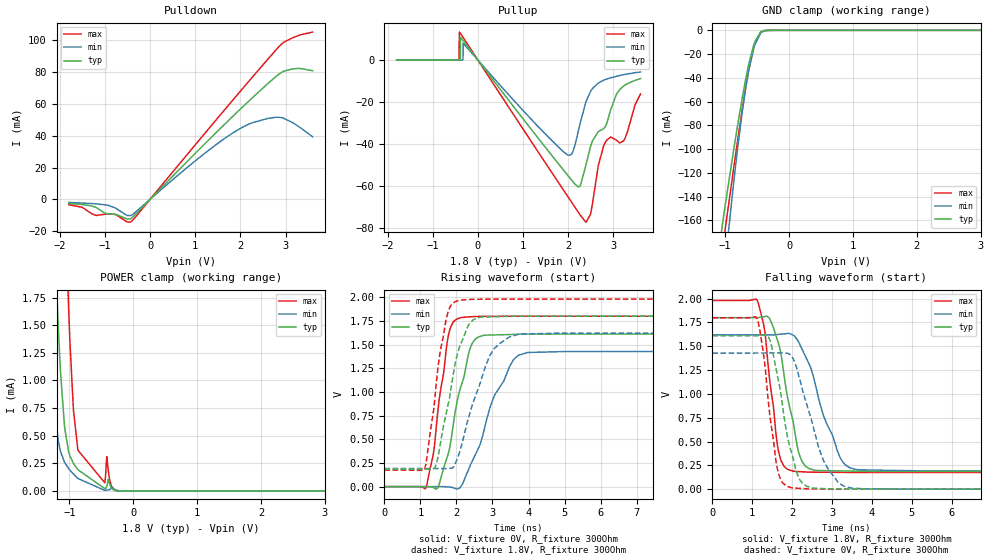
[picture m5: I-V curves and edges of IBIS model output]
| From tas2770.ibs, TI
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|   output Model
[Model]   output
Model_type   3-state
Polarity   Non-Inverting
Vmeas = 0.9
Vref = 0
Cref = 2pF
Rref = 100000
|   typ   min   max
C_comp   2.0028pF   2.0028pF   2.02143pF
|C_comp_pullup   1.65056pF   1.6279pF   1.71252pF
|C_comp_pulldown   1.63541pF   1.61297pF   1.70465pF
| Where nom  PVT is Nominal Process, 1.8V, 25C
|   Fast PVT is Strong Process,  1.98V, -40C
|   Slow PVT is Weak Process,   1.62V, 150C
[Voltage Range]   1.8   1.62   1.98
[Temperature Range]   25   150   -40
[Pullup Reference]   1.8   1.62   1.98
[Pulldown Reference]   -0   0   -0
[Power Clamp Reference]   1.8   1.62   1.98
[GND Clamp Reference]   0   0   0
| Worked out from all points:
|   slope of the pulldown table from 0 to 0.27 V, typ, clamps not added: 34.4 ohm
|   slope of the pullup table from 0 to 0.27 V, typ, clamps not added: 35.4 ohm
|   GND clamp passes 1 mA (typ) near -0.43 V on its own axis
|   POWER clamp passes 1 mA (typ) near -1.13 V on its own axis
|   falling waveform, V_fixture 1.8V, R_fixture 300Ohm: 20-80 % time 412ps typ, 677ps min, 282ps max; typ from 1.8 V to 0.185 V
|   rising waveform, V_fixture 0V, R_fixture 300Ohm: 20-80 % time 523ps typ, 884ps min, 349ps max; typ from 0 V to 1.61 V
|   rising waveform, V_fixture 1.8V, R_fixture 300Ohm: 20-80 % time 509ps typ, 704ps min, 392ps max; typ from 0.185 V to 1.8 V
|   falling waveform, V_fixture 0V, R_fixture 300Ohm: 20-80 % time 441ps typ, 606ps min, 301ps max; typ from 1.61 V to 0 V
[Pulldown]
|   Voltage   I(typ)   I(min)   I(max)
-1.8V     -2.545mA   -1.936mA   -3.311mA
-1.503V   -3.188mA   -2.28mA    -4.934mA
-1.195V   -5.037mA   -2.779mA   -10.05mA
-930.6mV  -8.988mA   -3.721mA   -8.984mA
-509.4mV  -12.26mA   -10.02mA   -14.09mA
-412.2mV  -11.75mA   -9.865mA   -13.76mA
1.31V     37.6mA     31.08mA    44.7mA
2.191V    61.67mA    47.25mA    74.2mA
2.606V    72.58mA    50.77mA    87.86mA
2.952V    80.3mA     50.96mA    98.36mA
3.271V    82.14mA    46.11mA    102.6mA
3.6V      80.74mA    39.32mA    105mA
[GND Clamp]
|   Voltage   I(typ)   I(min)   I(max)
-1.8V     -570.5mA   -641.7mA   -548.4mA
-1.055V   -168.5mA   -223.8mA   -188.6mA
-1.017V   -153.7mA   -204mA     -174.4mA
-860.4mV  -98.74mA   -125.4mA   -113.9mA
-801mV    -78.87mA   -97.94mA   -91.37mA
-730.8mV  -56.52mA   -68.23mA   -65.88mA
-671.4mV  -39.23mA   -46.41mA   -45.97mA
-628.2mV  -28.01mA   -32.96mA   -32.93mA
-552.6mV  -12.3mA    -15mA      -14.56mA
-433.8mV  -1.035mA   -1.915mA   -1.351mA
-266.4mV  -2.552uA   -27.08uA   -1.091uA
3.6V      0A         0A         0A
[Pullup]
|   Voltage   I(typ)   I(min)   I(max)
-1.8V     1.291nA    4.069nA    3.094nA
-444.6mV  662.9nA    23.2nA     25.04uA
-417.6mV  11.23uA    101.6nA    663.6uA
-412.2mV  19.52uA    104.5nA    13.4mA
-385.2mV  10.85mA    486.4nA    12.63mA
-325.8mV  9.236mA    8.048mA    10.78mA
1.996V    -55.24mA   -45.41mA   -65.38mA
2.25V     -60.42mA   -31.43mA   -73.54mA
2.396V    -49.69mA   -19.71mA   -77.44mA
2.785V    -32.7mA    -9.575mA   -40.87mA
3.222V    -12.45mA   -6.966mA   -38.66mA
3.6V      -8.804mA   -5.677mA   -16.19mA
[POWER Clamp]
|   Voltage   I(typ)   I(min)   I(max)
-1.8V     15.04mA    11.45mA    21.47mA
-1.341V   4.269mA    1.947mA    8.515mA
-1.206V   1.942mA    601.2uA    5.557mA
-1.076V   594.7uA    261.7uA    2.825mA
-1.012V   357.6uA    203.5uA    1.67mA
-936mV    249.6uA    153.3uA    736.7uA
-865.8mV  192.2uA    113.1uA    369uA
-444.6mV  20.67uA    4.645uA    73.72uA
-412.2mV  43.63uA    7.781uA    310.6uA
-352.8mV  42.07uA    18.44uA    67.21uA
-261mV    1.93uA     6.917uA    2.407uA
3.6V      0A         0A         0A
[Ramp]
R_load = 300
|   typ   min   max
dV/dt_r   0.966165/5.22402e-10   0.855919/8.88664e-10   1.07933/3.47968e-10
dV/dt_f   0.969065/4.09982e-10   0.857023/6.72537e-10   1.0829/2.80952e-10
[Falling Waveform]
V_fixture = 1.8V
V_fixture_min = 1.62V
V_fixture_max = 1.98V
R_fixture = 300Ohm
C_fixture = 0F
|   Time   V(typ)   V(min)   V(max)
0s        1.8V       1.62V      1.98V
1.126ns   1.8V       1.62V      1.982V
1.314ns   1.812V     1.62V      1.66V
1.663ns   1.524V     1.625V     388.8mV
2.027ns   709.2mV    1.616V     188.6mV
2.177ns   366.2mV    1.533V     184.1mV
2.337ns   240.1mV    1.391V     180.6mV
3.196ns   192.1mV    337.6mV    176.4mV
3.628ns   189mV      204.6mV    175.5mV
25ns      184.9mV    191.6mV    175.2mV
[Rising Waveform]
V_fixture = 0V
V_fixture_min = 0V
V_fixture_max = 0V
R_fixture = 300Ohm
C_fixture = 0F
|   Time   V(typ)   V(min)   V(max)
0s        18uV       17.37uV    15.88uV
1.151ns   -64.76uV   -32.36uV   -13.45mV
1.366ns   -10.87mV   -41.64uV   362.9mV
1.477ns   -15.37mV   -46.46uV   776.2mV
1.78ns    360.8mV    -3.709mV   1.605V
2.132ns   1.067V     7.184mV    1.785V
2.521ns   1.556V     334.8mV    1.796V
3.075ns   1.602V     975.7mV    1.798V
3.961ns   1.61V      1.415V     1.799V
25ns      1.61V      1.427V     1.799V
[Rising Waveform]
V_fixture = 1.8V
V_fixture_min = 1.62V
V_fixture_max = 1.98V
R_fixture = 300Ohm
C_fixture = 0F
|   Time   V(typ)   V(min)   V(max)
0s        184.9mV    191.6mV    175.1mV
1.113ns   183.4mV    191mV      181.4mV
1.419ns   218.4mV    190.9mV    1.014V
1.528ns   397.3mV    190.8mV    1.375V
1.714ns   771.4mV    190.7mV    1.765V
2.083ns   1.472V     360.2mV    1.967V
2.373ns   1.728V     776.8mV    1.976V
2.919ns   1.792V     1.377V     1.979V
3.724ns   1.799V     1.608V     1.98V
25ns      1.8V       1.62V      1.98V
[Falling Waveform]
|Gnd
V_fixture = 0V
V_fixture_min = 0V
V_fixture_max = 0V
R_fixture = 300Ohm
C_fixture = 0F
|   Time   V(typ)   V(min)   V(max)
0s        1.61V      1.427V     1.799V
1.117ns   1.61V      1.429V     1.796V
1.299ns   1.617V     1.429V     1.37V
1.404ns   1.6V       1.43V      916.9mV
1.626ns   1.202V     1.43V      221.2mV
1.991ns   373mV      1.391V     14.23mV
2.257ns   61.29mV    1.049V     6.592mV
2.789ns   6.023mV    298.8mV    2.429mV
3.488ns   1.9mV      11.99mV    381.5uV
25ns      27.67uV    30.94uV    23.69uV
